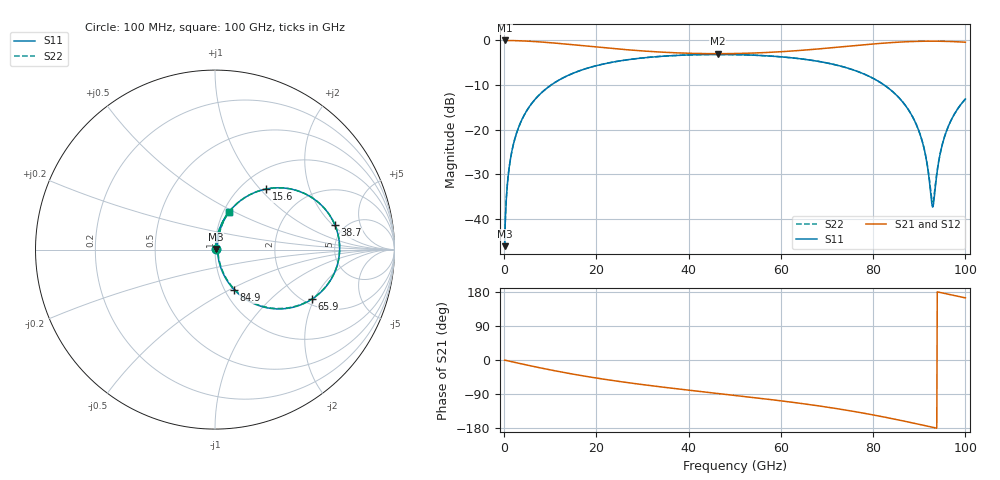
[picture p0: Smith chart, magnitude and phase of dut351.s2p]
! Touchstone file exported from HFSS 2026.1.0
!  File:  C:/ffzhzh/LocalFiles/Ansys_Project_Files/temp_train_RDL_351_1783503200_55944.aedt
!  Generated:  05:34:57 PM Jul  8, 2026
!  Design:  RDL
!  Project:  temp_train_RDL_351_1783503200_55944
! Variables:
!  h_bsmrdl = 2um
!  h_ox = 20um
!  h_rdl = 5um
!  h_sub = 80um
!  h_tmrdl = 4.25um
!  h_tsv = 80um
!  h_via = 3um
!  l_bsmrdl = 300um
!  l_sub = 1035.1um
!  l_tmrdl = 635.1um
!  m_sub = 200um
!  pitch = 58.89um
!  r_tsv = 6um
!  s_tmrdl = 10um
!  w_bsmrdl = 18um
!  w_sub = 500um
!  w_tmrdl = 15.59um
!  x_tsv_center1 = 642.895um
!  x_tsv_center2 = 960.895um
!  x_tsv_center3 = 1611.585um
!  x_tsv_center4 = 1929.585um
!  x_tsv_center5 = 2580.275um
!  x_tsv_center6 = 2898.275um
# GHz S MA R 50.000000
! Terminal data exported
! Port[1] = TM_RDL1_1_T1
! Port[2] = TM_RDL1_1_T2
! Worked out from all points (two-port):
!   1000 points, 100 MHz to 100 GHz, reference 50 ohm
!   highest |S21| = -0.03 dB at 100 MHz (marker M1); lowest = -3.0 dB at 46.3 GHz (marker M2)
!   |S21| within 3 dB of the highest: start of sweep to end of sweep
!   lowest |S11| = -46.0 dB at 100 MHz (marker M3), VSWR 1.01, Z = 50.3 + j0.359 ohm
!   |S11| at or under -10 dB: start of sweep to 10.18 GHz; 82.4 GHz to end of sweep
!   |S22| runs from -46.0 to -3.2 dB; largest |S21 - S12| = 1.8e-14
!   S11 on the Smith chart (normalised r, x): 100 MHz: 1.01, +0.01; 15.6 GHz: 1.29, +1.08; 38.7 GHz: 4.18, +2.11; 65.9 GHz: 2.19, -1.92; 84.9 GHz: 1.11, -0.53; 100 GHz: 1.06, +0.46
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0.1  0.004991 45.6  0.9965 -0.3  0.9965 -0.3  0.004991 45.6
! Gamma 0 0 0 0
! Port Impedance 50 0 50 0
0.8  0.028 79.5  0.9956 -2.2  0.9956 -2.2  0.028 79.5
1.4  0.0483 81.0  0.9945 -3.9  0.9945 -3.9  0.0483 81.0
3.7  0.1249 77.3  0.9865 -10.1  0.9865 -10.1  0.1249 77.3
8.3  0.2652 66.1  0.9554 -21.9  0.9554 -21.9  0.2652 66.2
15.6  0.442 49.8  0.8858 -38.7  0.8858 -38.7  0.442 49.8
16.8  0.4655 47.3  0.8737 -41.3  0.8737 -41.3  0.4655 47.4
33.4  0.6585 19.0  0.7415 -70.1  0.7415 -70.1  0.6585 19.1
38.7  0.6823 11.4  0.7202 -77.8  0.7202 -77.8  0.6824 11.6
46.3  0.6945 1.1  0.7091 -88.3  0.7091 -88.3  0.6945 1.3
50.1  0.6916 -4.0  0.7119 -93.5  0.7119 -93.5  0.6916 -3.8
65.9  0.606 -27.2  0.7835 -117.1  0.7835 -117.1  0.606 -26.9
66.7  0.5977 -28.5  0.7896 -118.5  0.7896 -118.5  0.5977 -28.2
76.4  0.4532 -46.4  0.8763 -137.0  0.8763 -137.0  0.4532 -46.0
83.4  0.2897 -61.2  0.9392 -153.0  0.9392 -153.0  0.2898 -60.6
84.9  0.2482 -64.4  0.9501 -156.7  0.9501 -156.7  0.2483 -63.8
90  0.09426 -72.3  0.975 -169.8  0.975 -169.8  0.09459 -70.9
91.3  0.05354 -69.2  0.9776 -173.3  0.9776 -173.3  0.0541 -67.0
92.9  0.01363 0.6  0.9784 -177.5  0.9784 -177.5  0.01566 0.9
94.5  0.0529 72.7  0.9767 178.2  0.9767 178.2  0.05346 70.8
95.6  0.0872 75.8  0.974 175.3  0.974 175.3  0.08754 74.7
100  0.2204 70.0  0.9525 164.0  0.9525 164.0  0.2205 69.7
